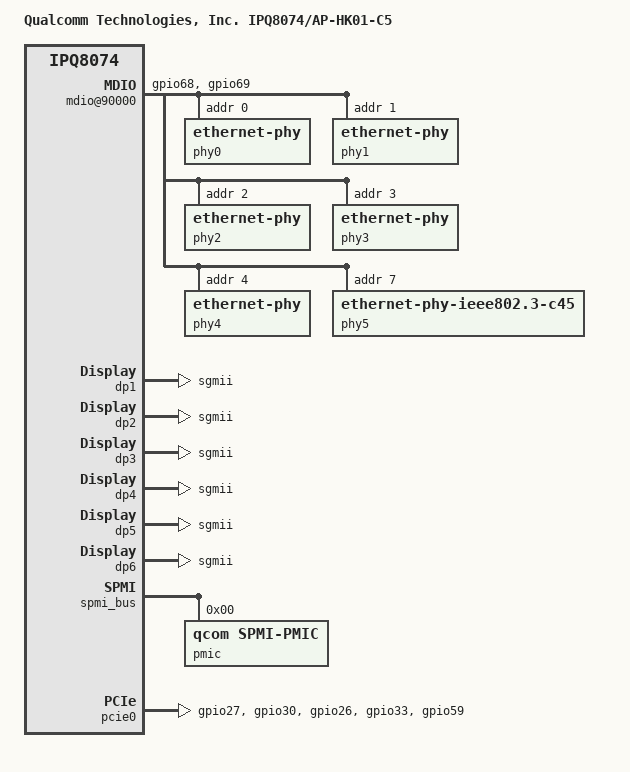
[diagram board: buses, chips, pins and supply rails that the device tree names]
// SPDX-License-Identifier: GPL-2.0-only
/dts-v1/;
/* Copyright (c) 2020 The Linux Foundation. All rights reserved.
 */
#include "ipq8074-hk01.dtsi"
#include <dt-bindings/pinctrl/qcom,pmic-gpio.h>

/ {
	model = "Qualcomm Technologies, Inc. IPQ8074/AP-HK01-C5";
	compatible = "qcom,ipq8074-ap-hk01-c5", "qcom,ipq8074-ap-hk01", "qcom,ipq8074";

	soc {

		pinctrl@1000000 {
			mdio_pins: mdio_pinmux {
				mux_0 {
					pins = "gpio68";
					function = "mdc";
					drive-strength = <8>;
					bias-pull-up;
				};
				mux_1 {
					pins = "gpio69";
					function = "mdio";
					drive-strength = <8>;
					bias-pull-up;
				};
			};

			pcie_sdx_pins: pcie_sdx_pinmux {
				ap2mdm_err_ftl {
					pins = "gpio27";
					function = "gpio";
					drive-strength = <8>;
					bias-pull-down;
				};

				sdx_pon_gpio {
					pins = "gpio30";
					function = "gpio";
					drive-strength = <8>;
					bias-pull-up;
					output-high;
				};

				ap2mdm_status {
					pins = "gpio26";
					function = "gpio";
					drive-strength = <8>;
					bias-pull-up;
					output-high;
				};

				mdm2ap_e911_status {
					pins = "gpio33";
					drive-strength = <8>;
					bias-pull-down;
				};
			};

			pcie_wake_pins: pcie0_wake_gpio {
				pins = "gpio59";
				function = "pcie0_wake";
				drive-strength = <8>;
				bias-pull-up;
			};
		};

		gpio_keys {
			status = "disabled";
		};

		i2c@78b6000 {
			 status = "disabled";
		};

		mdio@90000 {
			pinctrl-0 = <&mdio_pins>;
			pinctrl-names = "default";
			phy-reset-gpio = <&tlmm 37 0>;
			phy0: ethernet-phy@0 {
				reg = <0>;
			};
			phy1: ethernet-phy@1 {
				reg = <1>;
			};
			phy2: ethernet-phy@2 {
				reg = <2>;
			};
			phy3: ethernet-phy@3 {
				reg = <3>;
			};
			phy4: ethernet-phy@4 {
				reg = <4>;
			};
			phy5: ethernet-phy@5 {
				compatible ="ethernet-phy-ieee802.3-c45";
				reg = <7>;
			};
		};

		dp1 {
			device_type = "network";
			compatible = "qcom,nss-dp";
			qcom,id = <1>;
			reg = <0x3a001000 0x200>;
			qcom,mactype = <0>;
			local-mac-address = [000000000000];
			qcom,link-poll = <1>;
			qcom,phy-mdio-addr = <0>;
			phy-mode = "sgmii";
		};

		dp2 {
			device_type = "network";
			compatible = "qcom,nss-dp";
			qcom,id = <2>;
			reg = <0x3a001200 0x200>;
			qcom,mactype = <0>;
			local-mac-address = [000000000000];
			qcom,link-poll = <1>;
			qcom,phy-mdio-addr = <1>;
			phy-mode = "sgmii";
		};

		dp3 {
			device_type = "network";
			compatible = "qcom,nss-dp";
			qcom,id = <3>;
			reg = <0x3a001400 0x200>;
			qcom,mactype = <0>;
			local-mac-address = [000000000000];
			qcom,link-poll = <1>;
			qcom,phy-mdio-addr = <2>;
			phy-mode = "sgmii";
		};

		dp4 {
			device_type = "network";
			compatible = "qcom,nss-dp";
			qcom,id = <4>;
			reg = <0x3a001600 0x200>;
			qcom,mactype = <0>;
			local-mac-address = [000000000000];
			qcom,link-poll = <1>;
			qcom,phy-mdio-addr = <3>;
			phy-mode = "sgmii";
		};

		dp5 {
			device_type = "network";
			compatible = "qcom,nss-dp";
			qcom,id = <5>;
			reg = <0x3a001800 0x200>;
			qcom,mactype = <0>;
			local-mac-address = [000000000000];
			qcom,link-poll = <1>;
			qcom,phy-mdio-addr = <4>;
			phy-mode = "sgmii";
		};

		dp6 {
			device_type = "network";
			compatible = "qcom,nss-dp";
			qcom,id = <6>;
			reg = <0x3a007000 0x3fff>;
			qcom,mactype = <1>;
			local-mac-address = [000000000000];
			qcom,link-poll = <1>;
			qcom,phy-mdio-addr = <7>;
			phy-mode = "sgmii";
		};

		ess-switch@3a000000 {
			switch_cpu_bmp = <0x1>;  /* cpu port bitmap */
			switch_lan_bmp = <0x3e>; /* lan port bitmap */
			switch_wan_bmp = <0x40>; /* wan port bitmap */
			switch_mac_mode = <0x0>; /* mac mode for uniphy instance0*/
			switch_mac_mode1 = <0xff>; /* mac mode for uniphy instance1*/
			switch_mac_mode2 = <0xd>; /* mac mode for uniphy instance2*/
			bm_tick_mode = <0>; /* bm tick mode */
			tm_tick_mode = <0>; /* tm tick mode */
		};
	};

};

&spmi_bus {
	pmic@0 {
		compatible ="qcom,spmi-pmic";
		reg = <0x0 SPMI_USID>;
		#address-cells = <1>;
		#size-cells = <0>;

		pm8074_gpios: gpios@c000 {
			compatible = "qcom,pm8074-gpio";
			reg = <0xc000>;
			gpio-controller;
			gpio-ranges = <&pm8074_gpios 0 0 12>;
			#gpio-cells = <2>;
			interrupts = <0 0xc0 0 IRQ_TYPE_NONE>,
				     <0 0xc1 0 IRQ_TYPE_NONE>,
				     <0 0xc2 0 IRQ_TYPE_NONE>,
				     <0 0xc3 0 IRQ_TYPE_NONE>,
				     <0 0xc4 0 IRQ_TYPE_NONE>,
				     <0 0xc5 0 IRQ_TYPE_NONE>,
				     <0 0xc6 0 IRQ_TYPE_NONE>,
				     <0 0xc7 0 IRQ_TYPE_NONE>,
				     <0 0xc8 0 IRQ_TYPE_NONE>,
				     <0 0xc9 0 IRQ_TYPE_NONE>,
				     <0 0xca 0 IRQ_TYPE_NONE>,
				     <0 0xcb 0 IRQ_TYPE_NONE>;
			pinctrl-0 = <&pm8074_gpio>;
			pinctrl-names = "default";

			pm8074_gpio: pmm8074_gpio {
				pinconf {
					pins = "gpio6";
					function = PMIC_GPIO_FUNC_NORMAL;
					bias-pull-up;
					output-high;
				};
			};
		};
	};
};

&pcie0 {
	pinctrl-0 = <&pcie_sdx_pins>, <&pcie_wake_pins>;
	pinctrl-names = "default";
	x65_attached = <1>;
	e911-gpio =  <&tlmm 33 GPIO_ACTIVE_HIGH>;
	e911_x65-gpio =  <&tlmm 22 GPIO_ACTIVE_HIGH>;

	interrupts-extended = <&tlmm 59 IRQ_TYPE_LEVEL_HIGH>,
			      <&tlmm 33 IRQ_TYPE_LEVEL_HIGH>,
			      <&tlmm 22 IRQ_TYPE_LEVEL_HIGH>,
			      <&intc GIC_SPI 51 IRQ_TYPE_LEVEL_HIGH>;
	interrupt-names = "wake_gpio", "mdm2ap_e911", "mdm2ap_e911_x65", "global_irq";

	slot_id = <0>;
	link_retries_count = <100>;

	status = "ok";

	pcie0_rp: pcie0_rp {
		reg = <0 0 0 0 0>;
	};
};

&pcie0_rp {
	#address-cells = <5>;
	#size-cells = <0>;

	status = "ok";
	aliases {
		mhi_netdev2 = &mhi_netdev_2;
	};
	mhi_0: qcom,mhi@0 {
		reg = <0 0 0 0 0 >;

		ap2mdm-gpio = <&tlmm 26 0>;
		ap2mdm-x65-gpio = <&tlmm 45 0>;
		mdm2ap-gpio = <&tlmm 25 0>;
		mdm2ap-x65-gpio = <&tlmm 21 0>;

		// controller specific configuration
		qcom,iommu-dma = "disabled";

		// mhi bus specific settings
		mhi,ssr-negotiate;

		mhi_devices: mhi_devices {
			#address-cells = <1>;
			#size-cells = <0>;

			mhi_netdev_0: mhi_rmnet@0 {
				reg = <0x0>;
				mhi,chan = "IP_HW0";
				mhi,interface-name = "rmnet_mhi";
				mhi,mru = <0x4000>;
				mhi,chain-skb;
			};

			mhi_rmnet@1 {
				reg = <0x1>;
				mhi,chan = "IP_HW0_RSC";
				mhi,mru = <0x8000>;
				mhi,rsc-parent = <&mhi_netdev_0>;
			};

			mhi_netdev_2: mhi_rmnet@2 {
				reg = <0x2>;
				mhi,chan = "IP_SW0";
				mhi,interface-name = "rmnet_mhi_sw";
				mhi,mru = <0x4000>;
				mhi,disable-chain-skb;
			};

			mhi_qrtr {
				mhi,chan = "IPCR";
				qom,net-id = <3>;
			};
		};

	};
};
